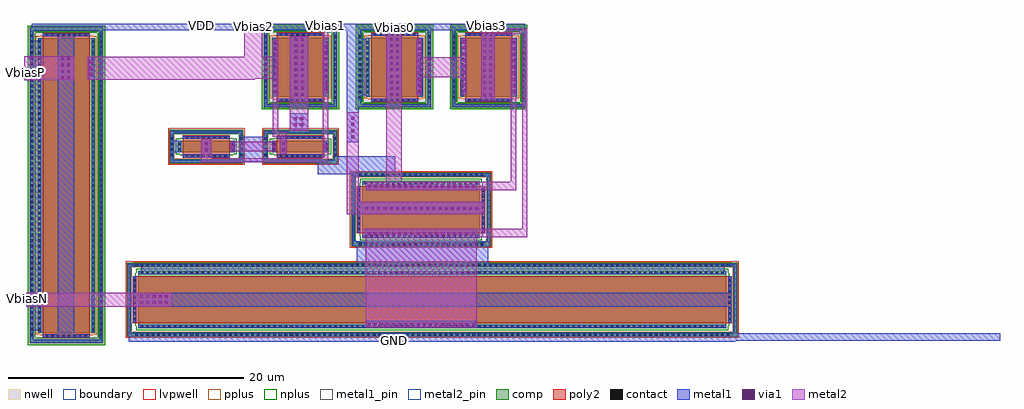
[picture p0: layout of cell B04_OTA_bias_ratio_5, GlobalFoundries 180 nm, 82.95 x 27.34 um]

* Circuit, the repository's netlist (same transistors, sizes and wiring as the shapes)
** sch_path: /foss/designs/AURA-Event-Driven-Mixed-Signal-ASIC-for-Acoustic-Pattern-Detection/analog/B04_OTA_bias_ratio_5.sch
.subckt B04_OTA_bias_ratio_5 VDD Vbias2 Vbias1 Vbias0 Vbias3 GND VbiasP VbiasN
*.PININFO VDD:B Vbias2:O Vbias1:O Vbias0:O Vbias3:O GND:B VbiasP:I VbiasN:I
M1 Vbias1 GND Vbias2 VDD pfet_03v3 L=4u W=5u nf=1
M4 Vbias1 Vbias2 net1 GND nfet_03v3 L=4u W=1u nf=1
M5 net1 Vbias1 GND GND nfet_03v3 L=4u W=1u nf=1
M9 net2 Vbias3 Vbias0 VDD pfet_03v3 L=4u W=5u nf=1
M10 VDD Vbias0 net2 VDD pfet_03v3 L=4u W=5u nf=1
M6 Vbias3 VDD Vbias0 GND nfet_03v3 L=4u W=10u nf=1
M2 Vbias2 VbiasP VDD VDD pfet_03v3 L=4u W=25u nf=1
M3 GND VbiasN Vbias3 GND nfet_03v3 L=4u W=50u nf=1
.ends

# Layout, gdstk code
from math import pi, radians
import gdstk
lib = gdstk.Library(unit=1e-6, precision=1e-09)
def R(c, l, rs):  # rectangles x0, y0, x1, y1
    for r in rs: c.add(gdstk.rectangle(r[:2], r[2:], *l))
def A(c, l, x, y, w, h, nx, ny, dx, dy):  # array of equal rectangles
    R(c, l, [(x+i*dx, y+j*dy, x+i*dx+w, y+j*dy+h) for i in range(nx) for j in range(ny)])
boundary = (0, 0)
nwell = (21, 0)
comp = (22, 0)
poly2 = (30, 0)
pplus = (31, 0)
nplus = (32, 0)
contact = (33, 0)
metal1 = (34, 0)
metal1_pin = (34, 10)
via1 = (35, 0)
metal2 = (36, 0)
metal2_pin = (36, 10)
lvpwell = (204, 0)

pfet_03v3_aerj7t = lib.new_cell('pfet_03v3_AERJ7T')
R(pfet_03v3_aerj7t, boundary, [(-2.95,-3.25,2.95,3.25)])
R(pfet_03v3_aerj7t, nwell, [(-3.25,-3.55,3.25,3.55)])
R(pfet_03v3_aerj7t, comp, [(-3.13,-3.43,3.13,-3.07), (-3.13,-3.07,-2.77,3.07), (2.77,-3.07,3.13,3.07), (-2.44,-2.5,2.44,2.5), (-3.13,3.07,3.13,3.43)])
R(pfet_03v3_aerj7t, poly2, [(-2,-2.96,2,2.96)])
R(pfet_03v3_aerj7t, pplus, [(-2.23,-2.73,2.23,-2.66), (-2.6,-2.66,2.6,2.66), (-2.23,2.66,2.23,2.73)])
R(pfet_03v3_aerj7t, nplus, [(-3.29,-3.59,3.29,-2.96), (-3.29,-2.96,-2.66,2.96), (2.66,-2.96,3.29,2.96), (-3.29,2.96,3.29,3.59)])
A(pfet_03v3_aerj7t, contact, -1.755, -2.89, 0.22, 0.22, 8, 2, 0.47, 5.56)
A(pfet_03v3_aerj7t, contact, -3.06, -2.695, 0.22, 0.22, 1, 12, 0, 0.47)
A(pfet_03v3_aerj7t, contact, 2.84, -2.695, 0.22, 0.22, 1, 12, 0, 0.47)
A(pfet_03v3_aerj7t, contact, -2.37, -2.225, 0.22, 0.22, 1, 10, 0, 0.47)
A(pfet_03v3_aerj7t, contact, 2.15, -2.225, 0.22, 0.22, 1, 10, 0, 0.47)
R(pfet_03v3_aerj7t, metal1, [(-3.065,-3.365,3.065,-3.135), (-3.065,-3.135,-2.835,3.135), (2.835,-3.135,3.065,3.135), (-1.99,-2.895,1.99,-2.665), (-2.375,-2.49,-2.145,2.49), (2.145,-2.49,2.375,2.49), (-1.99,2.665,1.99,2.895), (-3.065,3.135,3.065,3.365)])

nfet_03v3_gptq69 = lib.new_cell('nfet_03v3_GPTQ69')
R(nfet_03v3_gptq69, boundary, [(-2.95,-5.75,2.95,5.75)])
R(nfet_03v3_gptq69, comp, [(-3.13,-5.93,3.13,-5.57), (-3.13,-5.57,-2.77,5.57), (2.77,-5.57,3.13,5.57), (-2.44,-5,2.44,5), (-3.13,5.57,3.13,5.93)])
R(nfet_03v3_gptq69, poly2, [(-2,-5.46,2,5.46)])
R(nfet_03v3_gptq69, pplus, [(-3.15,-5.95,3.15,-5.55), (-3.15,-5.55,-2.74,-5.445), (2.74,-5.55,3.15,-5.445), (-3.16,-5.445,-2.74,5.445), (2.74,-5.445,3.16,5.445), (-3.15,5.445,-2.74,5.55), (2.74,5.445,3.15,5.55), (-3.15,5.55,3.15,5.95)])
R(nfet_03v3_gptq69, nplus, [(-2.23,-5.23,2.23,-5.16), (-2.6,-5.16,2.6,5.16), (-2.23,5.16,2.23,5.23)])
A(nfet_03v3_gptq69, contact, -1.755, -5.39, 0.22, 0.22, 8, 2, 0.47, 10.56)
A(nfet_03v3_gptq69, contact, -3.06, -5.28, 0.22, 0.22, 1, 23, 0, 0.47)
A(nfet_03v3_gptq69, contact, 2.84, -5.28, 0.22, 0.22, 1, 23, 0, 0.47)
A(nfet_03v3_gptq69, contact, -2.37, -4.81, 0.22, 0.22, 1, 21, 0, 0.47)
A(nfet_03v3_gptq69, contact, 2.15, -4.81, 0.22, 0.22, 1, 21, 0, 0.47)
R(nfet_03v3_gptq69, metal1, [(-3.065,-5.865,3.065,-5.635), (-3.065,-5.635,-2.835,5.635), (2.835,-5.635,3.065,5.635), (-1.99,-5.395,1.99,-5.165), (-2.375,-4.99,-2.145,4.99), (2.145,-4.99,2.375,4.99), (-1.99,5.165,1.99,5.395), (-3.065,5.635,3.065,5.865)])
R(nfet_03v3_gptq69, lvpwell, [(-3.25,-6.05,3.25,6.05)])

nfet_03v3_rec73x = lib.new_cell('nfet_03v3_REC73X')
R(nfet_03v3_rec73x, boundary, [(-2.95,-1.25,2.95,1.25)])
R(nfet_03v3_rec73x, comp, [(-3.13,-1.43,3.13,-1.07), (-3.13,-1.07,-2.77,1.07), (2.77,-1.07,3.13,1.07), (-2.44,-0.5,2.44,0.5), (-3.13,1.07,3.13,1.43)])
R(nfet_03v3_rec73x, poly2, [(-2,-0.96,2,0.96)])
R(nfet_03v3_rec73x, pplus, [(-3.15,-1.45,3.15,-1.05), (-3.15,-1.05,-2.74,-0.945), (2.74,-1.05,3.15,-0.945), (-3.16,-0.945,-2.74,0.945), (2.74,-0.945,3.16,0.945), (-3.15,0.945,-2.74,1.05), (2.74,0.945,3.15,1.05), (-3.15,1.05,3.15,1.45)])
R(nfet_03v3_rec73x, nplus, [(-2.23,-0.73,2.23,-0.66), (-2.6,-0.66,2.6,0.66), (-2.23,0.66,2.23,0.73)])
A(nfet_03v3_rec73x, contact, -1.755, -0.89, 0.22, 0.22, 8, 2, 0.47, 1.56)
A(nfet_03v3_rec73x, contact, -3.06, -0.815, 0.22, 0.22, 1, 4, 0, 0.47)
A(nfet_03v3_rec73x, contact, 2.84, -0.815, 0.22, 0.22, 1, 4, 0, 0.47)
R(nfet_03v3_rec73x, contact, [(-2.37,-0.345,-2.15,-0.125), (2.15,-0.345,2.37,-0.125), (-2.37,0.125,-2.15,0.345), (2.15,0.125,2.37,0.345)])
R(nfet_03v3_rec73x, metal1, [(-3.065,-1.365,3.065,-1.135), (-3.065,-1.135,-2.835,1.135), (2.835,-1.135,3.065,1.135), (-1.99,-0.895,1.99,-0.665), (-2.375,-0.49,-2.145,0.49), (2.145,-0.49,2.375,0.49), (-1.99,0.665,1.99,0.895), (-3.065,1.135,3.065,1.365)])
R(nfet_03v3_rec73x, lvpwell, [(-3.25,-1.55,3.25,1.55)])

nfet_03v3_fflzc7 = lib.new_cell('nfet_03v3_FFLZC7')
R(nfet_03v3_fflzc7, boundary, [(-2.95,-25.75,2.95,25.75)])
R(nfet_03v3_fflzc7, comp, [(-3.13,-25.93,3.13,-25.57), (-3.13,-25.57,-2.77,25.57), (2.77,-25.57,3.13,25.57), (-2.44,-25,2.44,25), (-3.13,25.57,3.13,25.93)])
R(nfet_03v3_fflzc7, poly2, [(-2,-25.46,2,25.46)])
R(nfet_03v3_fflzc7, pplus, [(-3.15,-25.95,3.15,-25.55), (-3.15,-25.55,-2.74,-25.445), (2.74,-25.55,3.15,-25.445), (-3.16,-25.445,-2.74,25.445), (2.74,-25.445,3.16,25.445), (-3.15,25.445,-2.74,25.55), (2.74,25.445,3.15,25.55), (-3.15,25.55,3.15,25.95)])
R(nfet_03v3_fflzc7, nplus, [(-2.23,-25.23,2.23,-25.16), (-2.6,-25.16,2.6,25.16), (-2.23,25.16,2.23,25.23)])
A(nfet_03v3_fflzc7, contact, -1.755, -25.39, 0.22, 0.22, 8, 2, 0.47, 50.56)
A(nfet_03v3_fflzc7, contact, -3.06, -25.255, 0.22, 0.22, 1, 108, 0, 0.47)
A(nfet_03v3_fflzc7, contact, 2.84, -25.255, 0.22, 0.22, 1, 108, 0, 0.47)
A(nfet_03v3_fflzc7, contact, -2.37, -24.785, 0.22, 0.22, 1, 106, 0, 0.47)
A(nfet_03v3_fflzc7, contact, 2.15, -24.785, 0.22, 0.22, 1, 106, 0, 0.47)
R(nfet_03v3_fflzc7, metal1, [(-3.065,-25.865,3.065,-25.635), (-3.065,-25.635,-2.835,25.635), (2.835,-25.635,3.065,25.635), (-1.99,-25.395,1.99,-25.165), (-2.375,-24.99,-2.145,24.99), (2.145,-24.99,2.375,24.99), (-1.99,25.165,1.99,25.395), (-3.065,25.635,3.065,25.865)])
R(nfet_03v3_fflzc7, lvpwell, [(-3.25,-26.05,3.25,26.05)])

pfet_03v3_z6kxze = lib.new_cell('pfet_03v3_Z6KXZE')
R(pfet_03v3_z6kxze, boundary, [(-2.95,-13.25,2.95,13.25)])
R(pfet_03v3_z6kxze, nwell, [(-3.25,-13.55,3.25,13.55)])
R(pfet_03v3_z6kxze, comp, [(-3.13,-13.43,3.13,-13.07), (-3.13,-13.07,-2.77,13.07), (2.77,-13.07,3.13,13.07), (-2.44,-12.5,2.44,12.5), (-3.13,13.07,3.13,13.43)])
R(pfet_03v3_z6kxze, poly2, [(-2,-12.96,2,12.96)])
R(pfet_03v3_z6kxze, pplus, [(-2.23,-12.73,2.23,-12.66), (-2.6,-12.66,2.6,12.66), (-2.23,12.66,2.23,12.73)])
R(pfet_03v3_z6kxze, nplus, [(-3.29,-13.59,3.29,-12.96), (-3.29,-12.96,-2.66,12.96), (2.66,-12.96,3.29,12.96), (-3.29,12.96,3.29,13.59)])
A(pfet_03v3_z6kxze, contact, -1.755, -12.89, 0.22, 0.22, 8, 2, 0.47, 25.56)
A(pfet_03v3_z6kxze, contact, -3.06, -12.8, 0.22, 0.22, 1, 55, 0, 0.47)
A(pfet_03v3_z6kxze, contact, 2.84, -12.8, 0.22, 0.22, 1, 55, 0, 0.47)
A(pfet_03v3_z6kxze, contact, -2.37, -12.33, 0.22, 0.22, 1, 53, 0, 0.47)
A(pfet_03v3_z6kxze, contact, 2.15, -12.33, 0.22, 0.22, 1, 53, 0, 0.47)
R(pfet_03v3_z6kxze, metal1, [(-3.065,-13.365,3.065,-13.135), (-3.065,-13.135,-2.835,13.135), (2.835,-13.135,3.065,13.135), (-1.99,-12.895,1.99,-12.665), (-2.375,-12.49,-2.145,12.49), (2.145,-12.49,2.375,12.49), (-1.99,12.665,1.99,12.895), (-3.065,13.135,3.065,13.365)])

b04_ota_bias_ratio_5 = lib.new_cell('B04_OTA_bias_ratio_5')
R(b04_ota_bias_ratio_5, metal1, [(-3.85,-20.1,47.7,-20), (-3.85,-20,70.2,-19.45), (-9.9,-19.6,-8.5,6), (18.65,-19.45,70.2,-19.35), (-12.1,-19.1,-11.45,5.5), (16.3,-18.85,25.65,-18.3), (-3.4,-17.1,47.3,-15.9), (-2.8,-14.25,46.75,-13.55), (15.55,-13.55,26.7,-11.9), (15.3,-11.9,26.7,-11.8), (15.25,-11.8,26.7,-11.55), (16.3,-11.2,25.75,-10.5), (15.65,-9.25,26.35,-8.2), (16.3,-7.2,25.75,-6.5), (12.2,-5.85,18.8,-4.75), (4.45,-4.8,9.15,-4.75), (5.75,-4.75,7.7,-4.4), (13.6,-4.75,18.8,-4.3), (5.6,-4.4,7.85,-2.65), (9,-4.4,9.45,-4.2), (2.3,-4.35,3.15,-2.65), (9,-4.2,9.6,-2.8), (-0.25,-4,0.5,-3), (4.8,-3.9,5.2,-3.1), (8.3,-3.9,8.7,-3.1), (12.65,-3.9,13.1,-3.1), (14.7,-3.15,15.7,6.4), (9,-2.8,9.45,-2.65), (9.85,-2.2,11.4,-0.65), (9.85,0.4,11.4,6.1), (18.05,0.4,19.35,6.1), (26.1,0.4,27.25,6.05), (8.4,0.85,8.85,5.6), (15.75,0.85,16.6,5.65), (12.65,0.9,13,1), (20.6,0.9,21.05,5.65), (24.45,0.9,24.9,5.65), (28.6,0.9,29.1,5.65), (12.65,1,13.05,5.4), (-7.35,2.2,-6.9,4.15), (12.65,5.4,13,5.55), (-11.05,6,-7.25,6.05), (-12.1,6.4,29.8,6.95)])
R(b04_ota_bias_ratio_5, metal1_pin, [(18.65,-20,18.9,-19.9), (1.95,6.75,2.7,6.85)])
A(b04_ota_bias_ratio_5, via1, 16.45, -18.73, 0.26, 0.26, 18, 2, 0.52, 7.7)
A(b04_ota_bias_ratio_5, via1, -2.87, -16.865, 0.26, 0.26, 5, 2, 0.52, 0.52)
A(b04_ota_bias_ratio_5, via1, 16.24, -8.855, 0.26, 0.26, 19, 1, 0.52, 0)
A(b04_ota_bias_ratio_5, via1, 16.45, -6.98, 0.26, 0.26, 18, 1, 0.52, 0)
A(b04_ota_bias_ratio_5, via1, 15.07, -2.785, 0.26, 0.26, 1, 4, 0, 0.52)
A(b04_ota_bias_ratio_5, via1, 26.285, 0.78, 0.26, 0.26, 1, 10, 0, 0.52)
A(b04_ota_bias_ratio_5, via1, 26.805, 0.78, 0.26, 0.26, 1, 10, 0, 0.52)
A(b04_ota_bias_ratio_5, via1, 18.335, 0.805, 0.26, 0.26, 1, 10, 0, 0.52)
A(b04_ota_bias_ratio_5, via1, 18.855, 0.805, 0.26, 0.26, 1, 10, 0, 0.52)
A(b04_ota_bias_ratio_5, via1, 10.235, 0.83, 0.26, 0.26, 1, 10, 0, 0.52)
A(b04_ota_bias_ratio_5, via1, 10.755, 0.83, 0.26, 0.26, 1, 10, 0, 0.52)
A(b04_ota_bias_ratio_5, via1, 8.47, 1.015, 0.26, 0.26, 1, 9, 0, 0.52)
A(b04_ota_bias_ratio_5, via1, 20.72, 1.065, 0.26, 0.26, 1, 9, 0, 0.52)
A(b04_ota_bias_ratio_5, via1, 28.72, 1.065, 0.26, 0.26, 1, 9, 0, 0.52)
A(b04_ota_bias_ratio_5, via1, 24.52, 1.115, 0.26, 0.26, 1, 9, 0, 0.52)
A(b04_ota_bias_ratio_5, via1, 12.77, 1.25, 0.26, 0.26, 1, 8, 0, 0.52)
A(b04_ota_bias_ratio_5, via1, -9.59, 2.265, 0.26, 0.26, 1, 4, 0, 0.52)
A(b04_ota_bias_ratio_5, via1, -9.07, 2.265, 0.26, 0.26, 1, 4, 0, 0.52)
A(b04_ota_bias_ratio_5, via1, -7.23, 2.525, 0.26, 0.26, 1, 3, 0, 0.52)
R(b04_ota_bias_ratio_5, via1, [(2.595,-3.89,2.855,-3.63), (9.145,-3.89,9.405,-3.63), (4.87,-3.63,5.13,-3.37), (8.37,-3.63,8.63,-3.37), (12.77,-3.63,13.03,-3.37), (2.595,-3.37,2.855,-3.11), (9.145,-3.37,9.405,-3.11), (10.185,-1.765,10.445,-1.505), (10.705,-1.765,10.965,-1.505), (10.185,-1.245,10.445,-0.985), (10.705,-1.245,10.965,-0.985)])
R(b04_ota_bias_ratio_5, metal2, [(16.3,-18.85,25.75,-11.2), (-12.55,-17.1,-0.15,-15.9), (16.05,-11.2,30,-10.5), (29.6,-10.5,30,6.05), (14.7,-9.25,26.35,-8.2), (14.7,-8.2,15.7,-0.6), (16.3,-7.2,29.1,-6.5), (18.05,-6.5,19.35,6.95), (28.6,-6.5,29.1,5.65), (2.3,-4.85,13.1,-4.5), (2.3,-4.5,3.15,-2.85), (12.65,-4.5,13.1,6.95), (9,-4.15,9.6,-2.65), (4.8,-3.9,8.7,-3.1), (8.4,-2.65,9.6,-2.3), (8.4,-2.3,8.85,2.25), (9.85,-2.15,11.4,5.9), (26.1,0.4,27.25,6.05), (20.6,0.9,21.05,2.4), (24.4,0.9,24.9,2.4), (-12.75,2.15,-8.5,4.2), (-7.35,2.2,6.85,2.25), (-7.35,2.25,8.85,4.15), (20.6,2.4,24.9,4.1), (20.6,4.1,21.05,5.65), (24.4,4.1,24.9,5.65), (5.95,4.15,7.5,6.95), (8.4,4.15,8.85,5.6), (26.1,6.05,30,6.5), (26.1,6.5,27.25,6.95)])
R(b04_ota_bias_ratio_5, metal2_pin, [(-12.5,-16.5,-12.45,-16.4), (-12.7,2.75,-12.55,2.9), (18.4,6.5,19,6.75), (6.55,6.65,6.9,6.8), (26.3,6.7,26.9,6.85), (12.75,6.75,12.95,6.9)])
R(b04_ota_bias_ratio_5, lvpwell, [(4.8,-3.9,5,-3.75)])
b04_ota_bias_ratio_5.add(gdstk.Reference(pfet_03v3_aerj7t, (18.75,3.25)))
b04_ota_bias_ratio_5.add(gdstk.Reference(pfet_03v3_aerj7t, (26.75,3.25)))
b04_ota_bias_ratio_5.add(gdstk.Reference(nfet_03v3_gptq69, (21,-8.85), rotation=3*pi/2))
b04_ota_bias_ratio_5.add(gdstk.Reference(nfet_03v3_rec73x, (2.75,-3.5)))
b04_ota_bias_ratio_5.add(gdstk.Reference(nfet_03v3_rec73x, (10.75,-3.5)))
b04_ota_bias_ratio_5.add(gdstk.Reference(nfet_03v3_fflzc7, (21.95,-16.5), rotation=3*pi/2))
b04_ota_bias_ratio_5.add(gdstk.Reference(pfet_03v3_z6kxze, (-9.15,-6.8)))
b04_ota_bias_ratio_5.add(gdstk.Reference(pfet_03v3_aerj7t, (10.75,3.25)))
b04_ota_bias_ratio_5.add(gdstk.Label('VDD', (2.325,6.8), layer=34, texttype=10))
b04_ota_bias_ratio_5.add(gdstk.Label('Vbias2', (6.725,6.725), layer=36, texttype=10))
b04_ota_bias_ratio_5.add(gdstk.Label('Vbias1', (12.85,6.825), layer=36, texttype=10))
b04_ota_bias_ratio_5.add(gdstk.Label('Vbias0', (18.7,6.625), layer=36, texttype=10))
b04_ota_bias_ratio_5.add(gdstk.Label('Vbias3', (26.6,6.775), layer=36, texttype=10))
b04_ota_bias_ratio_5.add(gdstk.Label('VbiasP', (-12.625,2.825), layer=36, texttype=10))
b04_ota_bias_ratio_5.add(gdstk.Label('VbiasN', (-12.475,-16.45), layer=36, texttype=10))
b04_ota_bias_ratio_5.add(gdstk.Label('GND', (18.775,-19.95), layer=34, texttype=10))

lib.write_gds('B04_OTA_bias_ratio_5.gds')
